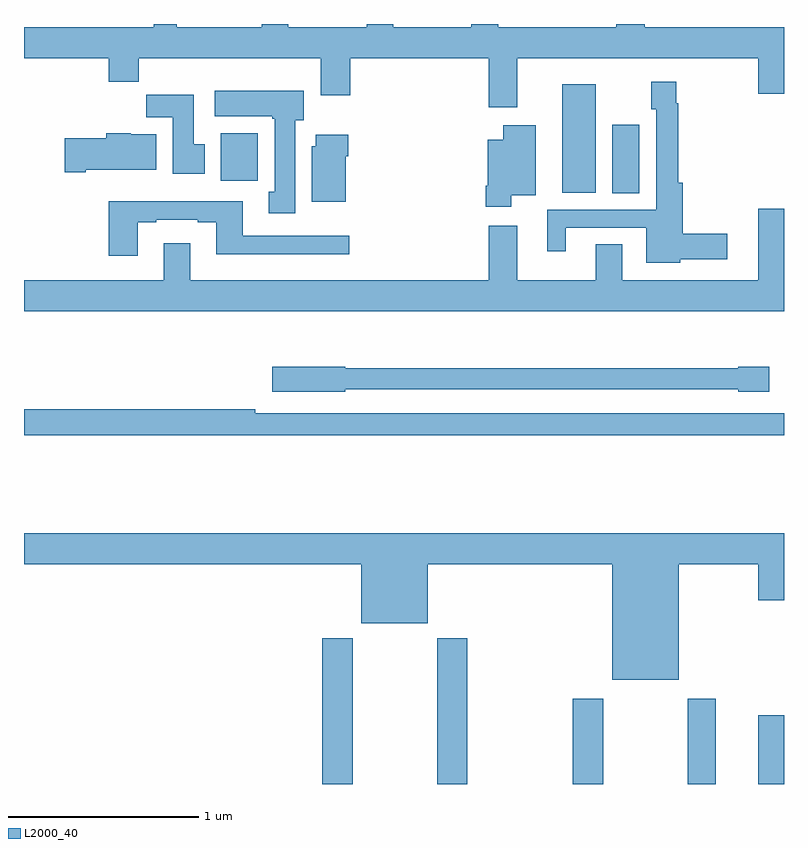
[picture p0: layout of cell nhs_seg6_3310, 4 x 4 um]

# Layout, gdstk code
import gdstk
lib = gdstk.Library(unit=1e-6, precision=1e-09)
def R(c, l, rs):  # rectangles x0, y0, x1, y1
    for r in rs: c.add(gdstk.rectangle(r[:2], r[2:], *l))
def P(c, l, *ps):  # polygons
    for p in ps: c.add(gdstk.Polygon(p, *l))
L2000_40 = (2000, 40)

nhs_seg6_3310 = lib.new_cell('nhs_seg6_3310')
R(nhs_seg6_3310, L2000_40, [(306.569,959.5,306.729,960.268), (307.174,959.5,307.334,960.268), (307.889,959.5,308.049,959.95), (308.494,959.5,308.641,959.95), (308.864,959.5,309,959.863), (308.096,962.608,308.239,962.971), (307.832,962.612,308.008,963.184), (306.035,962.676,306.231,962.926)])
P(nhs_seg6_3310, L2000_40, [(307.597,963.32),(308.864,963.32),(308.864,963.132),(309,963.132),(309,963.484),(308.267,963.484),(308.267,963.5),(308.116,963.5),(308.116,963.484),(307.495,963.484),(307.495,963.5),(307.355,963.5),(307.355,963.484),(306.943,963.484),(306.943,963.5),(306.803,963.5),(306.803,963.484),(306.391,963.484),(306.391,963.5),(306.252,963.5),(306.252,963.484),(305.803,963.484),(305.803,963.5),(305.682,963.5),(305.682,963.484),(305,963.484),(305,963.32),(305.447,963.32),(305.447,963.196),(305.603,963.196),(305.603,963.32),(306.563,963.32),(306.563,963.126),(306.716,963.126),(306.716,963.32),(307.445,963.32),(307.445,963.063),(307.597,963.063)],
  [(308.454,962.261),(308.701,962.261),(308.701,962.396),(308.466,962.396),(308.466,962.665),(308.444,962.665),(308.444,963.083),(308.432,963.083),(308.432,963.196),(308.302,963.196),(308.302,963.051),(308.328,963.051),(308.328,962.523),(307.754,962.523),(307.754,962.304),(307.852,962.304),(307.852,962.427),(308.276,962.427),(308.276,962.243),(308.454,962.243)],
  [(306.427,962.994),(306.472,962.994),(306.472,963.148),(306.003,963.148),(306.003,963.014),(306.307,963.014),(306.307,963.001),(306.32,963.001),(306.32,962.617),(306.287,962.617),(306.287,962.505),(306.427,962.505)],
  [(305.95,962.868),(305.893,962.868),(305.893,963.127),(305.644,963.127),(305.644,963.008),(305.783,963.008),(305.783,962.712),(305.95,962.712)],
  [(307.564,962.6),(307.693,962.6),(307.693,962.968),(307.523,962.968),(307.523,962.89),(307.442,962.89),(307.442,962.65),(307.43,962.65),(307.43,962.538),(307.564,962.538)],
  [(305.326,962.732),(305.695,962.732),(305.695,962.92),(305.562,962.92),(305.562,962.926),(305.432,962.926),(305.432,962.898),(305.214,962.898),(305.214,962.72),(305.326,962.72)],
  [(306.694,962.804),(306.707,962.804),(306.707,962.917),(306.536,962.917),(306.536,962.856),(306.515,962.856),(306.515,962.564),(306.694,962.564)],
  [(305.599,962.457),(305.695,962.457),(305.695,962.469),(305.915,962.469),(305.915,962.457),(306.011,962.457),(306.011,962.288),(306.712,962.288),(306.712,962.385),(306.151,962.385),(306.151,962.566),(305.447,962.566),(305.447,962.28),(305.599,962.28)],
  [(309,962.527),(308.864,962.527),(308.864,962.152),(308.149,962.152),(308.149,962.342),(308.009,962.342),(308.009,962.152),(307.597,962.152),(307.597,962.437),(307.445,962.437),(307.445,962.152),(305.875,962.152),(305.875,962.347),(305.735,962.347),(305.735,962.152),(305,962.152),(305,961.988),(309,961.988)],
  [(306.69,961.578),(308.76,961.578),(308.76,961.565),(308.923,961.565),(308.923,961.695),(308.76,961.695),(308.76,961.687),(306.69,961.687),(306.69,961.695),(306.306,961.695),(306.306,961.565),(306.69,961.565)],
  [(309,961.452),(306.218,961.452),(306.218,961.472),(305,961.472),(305,961.336),(309,961.336)],
  [(308.446,960.656),(308.864,960.656),(308.864,960.468),(309,960.468),(309,960.82),(305,960.82),(305,960.656),(306.776,960.656),(306.776,960.347),(307.126,960.347),(307.126,960.656),(308.096,960.656),(308.096,960.05),(308.446,960.05)])

lib.write_gds('nhs_seg6_3310.gds')
